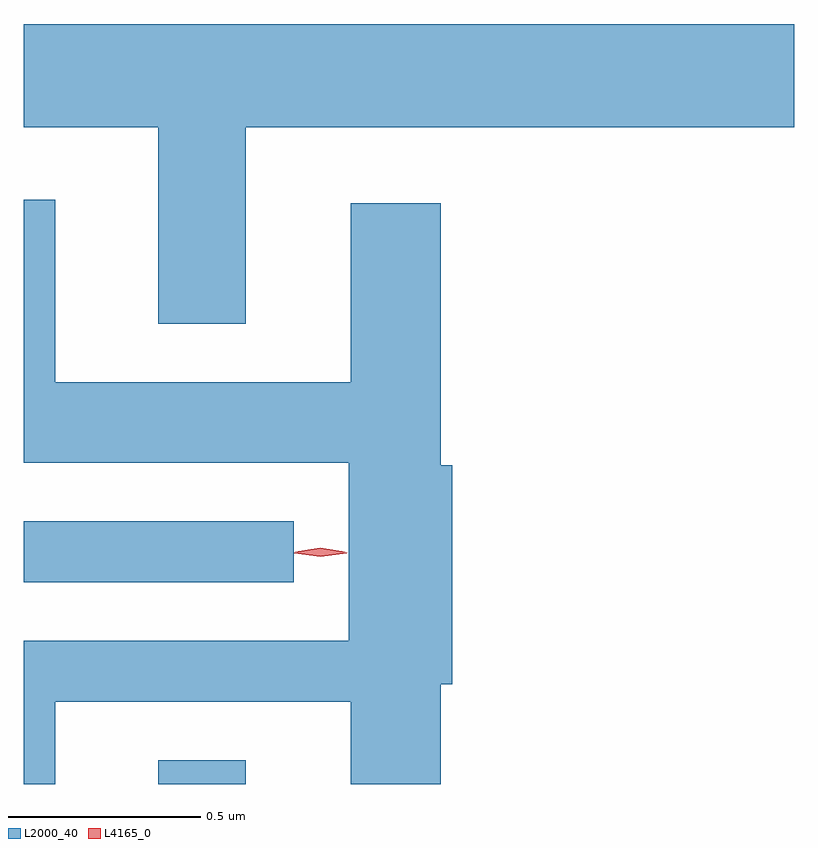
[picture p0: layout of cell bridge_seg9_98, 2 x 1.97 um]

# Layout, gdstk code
import gdstk
lib = gdstk.Library(unit=1e-6, precision=1e-09)
def R(c, l, rs):  # rectangles x0, y0, x1, y1
    for r in rs: c.add(gdstk.rectangle(r[:2], r[2:], *l))
def P(c, l, *ps):  # polygons
    for p in ps: c.add(gdstk.Polygon(p, *l))
L2000_40 = (2000, 40)
L4165_0 = (4165, 0)

bridge_seg9_98 = lib.new_cell('bridge_seg9_98')
R(bridge_seg9_98, L2000_40, [(1800.581,1983.452,1800.809,1983.514), (1800.232,1983.976,1800.933,1984.134)])
P(bridge_seg9_98, L2000_40, [(1800.809,1985.156),(1802.232,1985.156),(1802.232,1985.424),(1800.232,1985.424),(1800.232,1985.156),(1800.581,1985.156),(1800.581,1984.646),(1800.809,1984.646)],
  [(1800.314,1983.666),(1801.081,1983.666),(1801.081,1983.452),(1801.314,1983.452),(1801.314,1983.711),(1801.344,1983.711),(1801.344,1984.279),(1801.314,1984.279),(1801.314,1984.959),(1801.081,1984.959),(1801.081,1984.494),(1800.314,1984.494),(1800.314,1984.968),(1800.232,1984.968),(1800.232,1984.286),(1801.076,1984.286),(1801.076,1983.824),(1800.232,1983.824),(1800.232,1983.452),(1800.314,1983.452)])
P(bridge_seg9_98, L4165_0, [(1801.003,1984.042),(1800.934,1984.051),(1800.934,1984.052),(1800.934,1984.052),(1801.003,1984.062),(1801.071,1984.052),(1801.072,1984.052),(1801.071,1984.051)],
  [(1801.002,1984.045),(1800.937,1984.054),(1800.937,1984.055),(1800.937,1984.055),(1801.002,1984.065),(1801.067,1984.055),(1801.067,1984.055),(1801.067,1984.054)])

lib.write_gds('bridge_seg9_98.gds')
